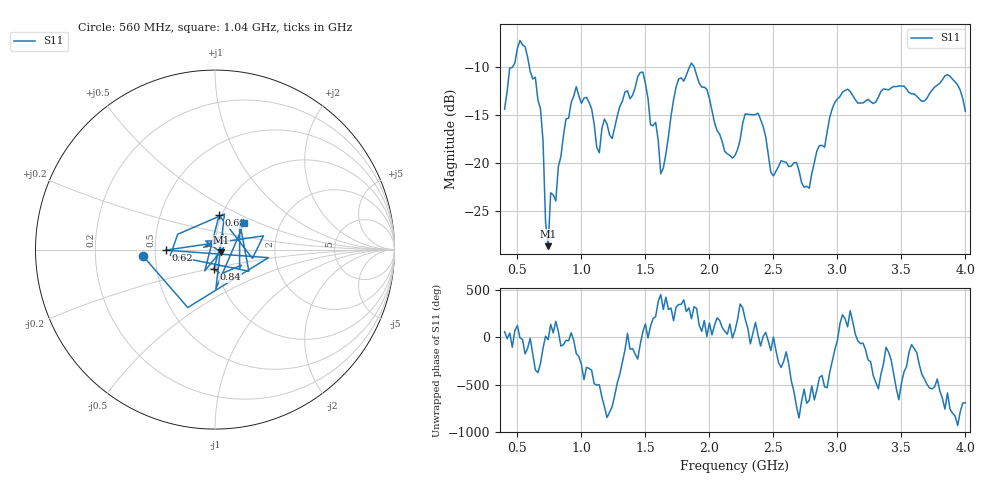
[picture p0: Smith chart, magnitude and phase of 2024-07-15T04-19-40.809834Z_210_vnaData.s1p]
!Created with skrf (http://scikit-rf.org).
# Hz S RI R 50.0
!freq ReS11 ImS11
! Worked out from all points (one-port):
!   181 points, 400 MHz to 4 GHz, reference 50 ohm
!   lowest |S11| = -28.6 dB at 740 MHz (marker M1), VSWR 1.08, Z = 53.5 - j1.68 ohm
!   |S11| at or under -10 dB: start of sweep to 460.3 MHz; 594.2 MHz to 1.843 GHz (1.249 GHz wide, 102 % of centre); 1.882 GHz to end of sweep
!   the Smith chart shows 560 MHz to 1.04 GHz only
!   S11 on the Smith chart (normalised r, x): 560 MHz: 0.43, -0.03; 620 MHz: 0.57, -0.00; 680 MHz: 0.97, +0.39; 840 MHz: 0.97, -0.21; 1.04 GHz: 1.32, +0.41
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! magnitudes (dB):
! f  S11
! 400 MHz  -14.4
! 440 MHz  -10.1
! 560 MHz  -7.9
! 620 MHz  -11.2
! 680 MHz  -14.3
! 740 MHz  -28.6
! 760 MHz  -23.1
! 800 MHz  -23.9
! 840 MHz  -19.3
! 860 MHz  -17.1
! 960 MHz  -12.0
! 1.04 GHz  -13.1
! 1.14 GHz  -18.9
! 1.3 GHz  -14.1
! 1.48 GHz  -10.5
! 1.62 GHz  -21.1
! 1.76 GHz  -11.2
! 1.86 GHz  -9.6
! 2.2 GHz  -19.2
! 2.38 GHz  -14.8
! 2.5 GHz  -21.3
! 2.66 GHz  -19.9
! 2.78 GHz  -22.6
! 2.98 GHz  -13.6
! 3.1 GHz  -12.5
! 3.56 GHz  -12.6
! 3.86 GHz  -10.8
! 4 GHz  -14.6
